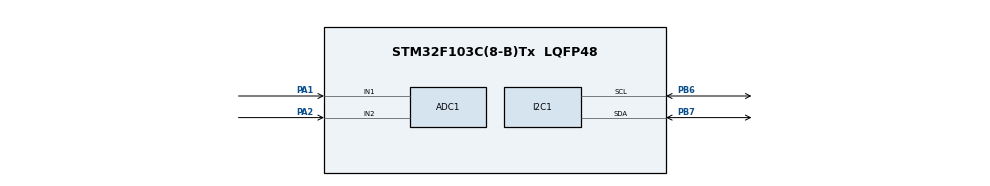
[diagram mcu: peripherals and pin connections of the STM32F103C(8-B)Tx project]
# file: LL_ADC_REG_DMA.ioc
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ADC1.Channel-0\#ChannelRegularConversion=ADC_CHANNEL_1
ADC1.Channel-1\#ChannelRegularConversion=ADC_CHANNEL_2
ADC1.NbrOfConversion=2
ADC1.NbrOfConversionFlag=1
ADC1.Rank-0\#ChannelRegularConversion=1
ADC1.Rank-1\#ChannelRegularConversion=2
ADC1.SamplingTime-0\#ChannelRegularConversion=ADC_SAMPLETIME_13CYCLES_5
ADC1.SamplingTime-1\#ChannelRegularConversion=ADC_SAMPLETIME_13CYCLES_5
ADC1.master=1
Dma.ADC1.0.Direction=DMA_PERIPH_TO_MEMORY
Dma.ADC1.0.Instance=DMA1_Channel1
Dma.ADC1.0.MemDataAlignment=DMA_MDATAALIGN_HALFWORD
Dma.ADC1.0.MemInc=DMA_MINC_ENABLE
Dma.ADC1.0.Mode=DMA_NORMAL
Dma.ADC1.0.PeriphDataAlignment=DMA_PDATAALIGN_HALFWORD
Dma.ADC1.0.PeriphInc=DMA_PINC_DISABLE
Dma.ADC1.0.Priority=DMA_PRIORITY_LOW
Dma.Request0=ADC1
I2C1.I2C_Mode=I2C_Standard
Mcu.Family=STM32F1
Mcu.Name=STM32F103C(8-B)Tx
Mcu.Package=LQFP48
NVIC.DMA1_Channel1_IRQn=true\:0\:0\:false\:false\:true\:false\:true
NVIC.PriorityGroup=NVIC_PRIORITYGROUP_4
NVIC.TIM1_BRK_IRQn=true\:0\:0\:false\:false\:true\:true\:true
NVIC.TIM1_CC_IRQn=true\:0\:0\:false\:false\:true\:true\:true
NVIC.TIM1_TRG_COM_IRQn=true\:0\:0\:false\:false\:true\:true\:true
NVIC.TIM1_UP_IRQn=true\:0\:0\:false\:false\:true\:true\:true
PA1.Signal=ADCx_IN1
PA13.Mode=Trace_Asynchronous_SW
PA13.Signal=SYS_JTMS-SWDIO
PA14.Mode=Trace_Asynchronous_SW
PA14.Signal=SYS_JTCK-SWCLK
PA2.Signal=ADCx_IN2
PB3.Mode=Trace_Asynchronous_SW
PB3.Signal=SYS_JTDO-TRACESWO
PB6.GPIO_Pu=GPIO_PULLUP
PB6.Mode=I2C
PB6.Signal=I2C1_SCL
PB7.GPIO_Pu=GPIO_PULLUP
PB7.Mode=I2C
PB7.Signal=I2C1_SDA
PD0-OSC_IN.Mode=HSE-External-Oscillator
PD0-OSC_IN.Signal=RCC_OSC_IN
PD1-OSC_OUT.Mode=HSE-External-Oscillator
PD1-OSC_OUT.Signal=RCC_OSC_OUT
ProjectManager.HeapSize=0x200
ProjectManager.StackSize=0x400
ProjectManager.TargetToolchain=MDK-ARM V5
RCC.ADCPresc=RCC_ADCPCLK2_DIV6
RCC.AHBFreq_Value=72000000
RCC.APB1CLKDivider=RCC_HCLK_DIV2
RCC.APB1Freq_Value=36000000
RCC.APB1TimFreq_Value=72000000
RCC.APB2Freq_Value=72000000
RCC.APB2TimFreq_Value=72000000
RCC.HCLKFreq_Value=72000000
RCC.PLLMUL=RCC_PLL_MUL9
RCC.PLLSourceVirtual=RCC_PLLSOURCE_HSE
RCC.SYSCLKFreq_VALUE=72000000
RCC.SYSCLKSource=RCC_SYSCLKSOURCE_PLLCLK
RCC.USBFreq_Value=72000000
SH.ADCx_IN1.0=ADC1_IN1,IN1
SH.ADCx_IN2.0=ADC1_IN2,IN2
TIM1.Period=255
TIM1.Prescaler=64
VP_TIM1_VS_ClockSourceINT.Mode=Internal
board=custom

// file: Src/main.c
/* USER CODE BEGIN Header */
/**
  ******************************************************************************
  * @file           : main.c
  * @brief          : Main program body
  ******************************************************************************
  * @attention
  *
  * Copyright (c) 2022 STMicroelectronics.
  * All rights reserved.
  *
  * This software is licensed under terms that can be found in the LICENSE file
  * in the root directory of this software component.
  * If no LICENSE file comes with this software, it is provided AS-IS.
  *
  ******************************************************************************
  */
/* USER CODE END Header */
#include "main.h"

/* USER CODE BEGIN Includes */
#include "lcd.h"
#include <stdio.h>
#include "stdio.h"
/* USER CODE END Includes */

TIM_HandleTypeDef htim1;

/* USER CODE BEGIN PV */
__IO uint16_t ADC_Data[4] = {0};
__IO uint8_t fl_adc;

#define ITM_Port8(n)  (*((volatile unsigned char *)(0xE0000000+4*n)))
#define ITM_Port16(n) (*((volatile unsigned short *)(0xE0000000+4*n)))
#define ITM_Port32(n) (*((volatile unsigned long *)(0xE0000000+4*n)))

#define  DEMCR        (*((volatile unsigned long *)(0xE000EDFC)))
#define TRCENA        0x01000000

struct __FILE { int handle;};
FILE __stdout;
FILE __stdin;

int fputc(int ch, FILE *f){
	if (DEMCR & TRCENA){
		while (ITM_Port32(0) == 0);
		ITM_Port8(0) = ch;
	}
}
/* USER CODE END PV */

void SystemClock_Config(void);
static void MX_GPIO_Init(void);
static void MX_DMA_Init(void);
static void MX_I2C1_Init(void);
static void MX_ADC1_Init(void);
static void MX_TIM1_Init(void);

/* USER CODE BEGIN 0 */
//uint32_t crt;
char crt;
/* USER CODE END 0 */

int main(void)
{
  /* USER CODE BEGIN 1 */
  __IO uint32_t wait_loop_index = 0;
  __IO uint16_t ADC_mVolt[2];
  char str01[20];

  /* USER CODE END 1 */

  /* MCU Configuration--------------------------------------------------------*/

  /* Reset of all peripherals, Initializes the Flash interface and the Systick. */
  HAL_Init();

  /* Configure the system clock */
  SystemClock_Config();

  /* Initialize all configured peripherals */
  MX_GPIO_Init();
  MX_DMA_Init();
  MX_I2C1_Init();
  MX_ADC1_Init();
  MX_TIM1_Init();
  /* USER CODE BEGIN 2 */
	HAL_TIM_PWM_Start(&htim1, TIM_CHANNEL_1); // запускаем PWM

  LCD_ini();
  LL_DMA_ConfigTransfer(DMA1,
                        LL_DMA_CHANNEL_1,
                        LL_DMA_DIRECTION_PERIPH_TO_MEMORY |
                        LL_DMA_MODE_CIRCULAR              |
                        LL_DMA_PERIPH_NOINCREMENT         |
                        LL_DMA_MEMORY_INCREMENT           |
                        LL_DMA_PDATAALIGN_HALFWORD        |
                        LL_DMA_MDATAALIGN_HALFWORD        |
                        LL_DMA_PRIORITY_HIGH               );
  LL_DMA_ConfigAddresses(DMA1,
                         LL_DMA_CHANNEL_1,
                         LL_ADC_DMA_GetRegAddr(ADC1, LL_ADC_DMA_REG_REGULAR_DATA),
                         (uint32_t)&ADC_Data,
                         LL_DMA_DIRECTION_PERIPH_TO_MEMORY);
  LL_DMA_SetDataLength(DMA1, LL_DMA_CHANNEL_1, 2);
  LL_DMA_EnableIT_TC(DMA1, LL_DMA_CHANNEL_1);
  LL_DMA_EnableIT_TE(DMA1, LL_DMA_CHANNEL_1);
  LL_DMA_EnableChannel(DMA1, LL_DMA_CHANNEL_1);
  LL_ADC_Enable(ADC1);
  wait_loop_index = ((LL_ADC_DELAY_ENABLE_CALIB_ADC_CYCLES * 32) >> 1);
  while(wait_loop_index != 0)
  {
    wait_loop_index--;
  }
  LL_ADC_StartCalibration(ADC1);
  while (LL_ADC_IsCalibrationOnGoing(ADC1) != 0) {}
  LCD_String("Two channel");
  LCD_SetPos(0,1);
  LCD_String("Voltmeter");
  LCD_SetPos(0,2);
	HAL_Delay(2000);
	LCD_Clear();
  /* USER CODE END 2 */

  /* Infinite loop */
  while (1)
  {

    /* USER CODE BEGIN 3 */

    LL_ADC_REG_StartConversionSWStart(ADC1);
    while (!fl_adc) {}
    fl_adc = 0;
    for(uint8_t i=0; i<2; i++)
    {
      ADC_mVolt[i] = __LL_ADC_CALC_DATA_TO_VOLTAGE((uint32_t)3275, ADC_Data[i], LL_ADC_RESOLUTION_12B);
    }
    sprintf(str01," %.3f %.3f ", (float)ADC_mVolt[0]/1000., (float)ADC_mVolt[1]/1000.);
    LCD_SetPos(0,1);
    LCD_String(str01);
    LL_mDelay(100);
		//rt = (char)str01;
		printf("%.3f %.3f \r\n", str01);
  }
  /* USER CODE END 3 */
}

void SystemClock_Config(void)
{
  LL_FLASH_SetLatency(LL_FLASH_LATENCY_2);
  while(LL_FLASH_GetLatency()!= LL_FLASH_LATENCY_2)
  {
  }
  LL_RCC_HSE_Enable();

   /* Wait till HSE is ready */
  while(LL_RCC_HSE_IsReady() != 1)
  {

  }
  LL_RCC_PLL_ConfigDomain_SYS(LL_RCC_PLLSOURCE_HSE_DIV_1, LL_RCC_PLL_MUL_9);
  LL_RCC_PLL_Enable();

   /* Wait till PLL is ready */
  while(LL_RCC_PLL_IsReady() != 1)
  {

  }
  LL_RCC_SetAHBPrescaler(LL_RCC_SYSCLK_DIV_1);
  LL_RCC_SetAPB1Prescaler(LL_RCC_APB1_DIV_2);
  LL_RCC_SetAPB2Prescaler(LL_RCC_APB2_DIV_1);
  LL_RCC_SetSysClkSource(LL_RCC_SYS_CLKSOURCE_PLL);

   /* Wait till System clock is ready */
  while(LL_RCC_GetSysClkSource() != LL_RCC_SYS_CLKSOURCE_STATUS_PLL)
  {

  }
  LL_SetSystemCoreClock(72000000);

   /* Update the time base */
  if (HAL_InitTick (TICK_INT_PRIORITY) != HAL_OK)
  {
    Error_Handler();
  }
  LL_RCC_SetADCClockSource(LL_RCC_ADC_CLKSRC_PCLK2_DIV_6);
}

static void MX_ADC1_Init(void)
{

  LL_ADC_InitTypeDef ADC_InitStruct = {0};
  LL_ADC_CommonInitTypeDef ADC_CommonInitStruct = {0};
  LL_ADC_REG_InitTypeDef ADC_REG_InitStruct = {0};

  LL_GPIO_InitTypeDef GPIO_InitStruct = {0};

  /* Peripheral clock enable */
  LL_APB2_GRP1_EnableClock(LL_APB2_GRP1_PERIPH_ADC1);

  LL_APB2_GRP1_EnableClock(LL_APB2_GRP1_PERIPH_GPIOA);
  /**ADC1 GPIO Configuration
  PA1   ------> ADC1_IN1
  PA2   ------> ADC1_IN2
  */
  GPIO_InitStruct.Pin = LL_GPIO_PIN_1|LL_GPIO_PIN_2;
  GPIO_InitStruct.Mode = LL_GPIO_MODE_ANALOG;
  LL_GPIO_Init(GPIOA, &GPIO_InitStruct);

  /* ADC1 DMA Init */

  /* ADC1 Init */
  LL_DMA_SetDataTransferDirection(DMA1, LL_DMA_CHANNEL_1, LL_DMA_DIRECTION_PERIPH_TO_MEMORY);

  LL_DMA_SetChannelPriorityLevel(DMA1, LL_DMA_CHANNEL_1, LL_DMA_PRIORITY_LOW);

  LL_DMA_SetMode(DMA1, LL_DMA_CHANNEL_1, LL_DMA_MODE_NORMAL);

  LL_DMA_SetPeriphIncMode(DMA1, LL_DMA_CHANNEL_1, LL_DMA_PERIPH_NOINCREMENT);

  LL_DMA_SetMemoryIncMode(DMA1, LL_DMA_CHANNEL_1, LL_DMA_MEMORY_INCREMENT);

  LL_DMA_SetPeriphSize(DMA1, LL_DMA_CHANNEL_1, LL_DMA_PDATAALIGN_HALFWORD);

  LL_DMA_SetMemorySize(DMA1, LL_DMA_CHANNEL_1, LL_DMA_MDATAALIGN_HALFWORD);

  /** Common config
  */
  ADC_InitStruct.DataAlignment = LL_ADC_DATA_ALIGN_RIGHT;
  ADC_InitStruct.SequencersScanMode = LL_ADC_SEQ_SCAN_ENABLE;
  LL_ADC_Init(ADC1, &ADC_InitStruct);
  ADC_CommonInitStruct.Multimode = LL_ADC_MULTI_INDEPENDENT;
  LL_ADC_CommonInit(__LL_ADC_COMMON_INSTANCE(ADC1), &ADC_CommonInitStruct);
  ADC_REG_InitStruct.TriggerSource = LL_ADC_REG_TRIG_SOFTWARE;
  ADC_REG_InitStruct.SequencerLength = LL_ADC_REG_SEQ_SCAN_ENABLE_2RANKS;
  ADC_REG_InitStruct.SequencerDiscont = LL_ADC_REG_SEQ_DISCONT_DISABLE;
  ADC_REG_InitStruct.ContinuousMode = LL_ADC_REG_CONV_SINGLE;
  ADC_REG_InitStruct.DMATransfer = LL_ADC_REG_DMA_TRANSFER_UNLIMITED;
  LL_ADC_REG_Init(ADC1, &ADC_REG_InitStruct);
  /** Configure Regular Channel
  */
  LL_ADC_REG_SetSequencerRanks(ADC1, LL_ADC_REG_RANK_1, LL_ADC_CHANNEL_1);
  LL_ADC_SetChannelSamplingTime(ADC1, LL_ADC_CHANNEL_1, LL_ADC_SAMPLINGTIME_13CYCLES_5);
  /** Configure Regular Channel
  */
  LL_ADC_REG_SetSequencerRanks(ADC1, LL_ADC_REG_RANK_2, LL_ADC_CHANNEL_2);
  LL_ADC_SetChannelSamplingTime(ADC1, LL_ADC_CHANNEL_2, LL_ADC_SAMPLINGTIME_13CYCLES_5);

}

static void MX_I2C1_Init(void)
{

  LL_I2C_InitTypeDef I2C_InitStruct = {0};

  LL_GPIO_InitTypeDef GPIO_InitStruct = {0};

  LL_APB2_GRP1_EnableClock(LL_APB2_GRP1_PERIPH_GPIOB);
  /**I2C1 GPIO Configuration
  PB6   ------> I2C1_SCL
  PB7   ------> I2C1_SDA
  */
  GPIO_InitStruct.Pin = LL_GPIO_PIN_6|LL_GPIO_PIN_7;
  GPIO_InitStruct.Mode = LL_GPIO_MODE_ALTERNATE;
  GPIO_InitStruct.Speed = LL_GPIO_SPEED_FREQ_HIGH;
  GPIO_InitStruct.OutputType = LL_GPIO_OUTPUT_OPENDRAIN;
  LL_GPIO_Init(GPIOB, &GPIO_InitStruct);

  /* Peripheral clock enable */
  LL_APB1_GRP1_EnableClock(LL_APB1_GRP1_PERIPH_I2C1);

  /** I2C Initialization
  */
  LL_I2C_DisableOwnAddress2(I2C1);
  LL_I2C_DisableGeneralCall(I2C1);
  LL_I2C_EnableClockStretching(I2C1);
  I2C_InitStruct.PeripheralMode = LL_I2C_MODE_I2C;
  I2C_InitStruct.ClockSpeed = 100000;
  I2C_InitStruct.DutyCycle = LL_I2C_DUTYCYCLE_2;
  I2C_InitStruct.OwnAddress1 = 0;
  I2C_InitStruct.TypeAcknowledge = LL_I2C_ACK;
  I2C_InitStruct.OwnAddrSize = LL_I2C_OWNADDRESS1_7BIT;
  LL_I2C_Init(I2C1, &I2C_InitStruct);
  LL_I2C_SetOwnAddress2(I2C1, 0);

}

static void MX_TIM1_Init(void)
{

  TIM_ClockConfigTypeDef sClockSourceConfig = {0};
  TIM_MasterConfigTypeDef sMasterConfig = {0};

  htim1.Instance = TIM1;
  htim1.Init.Prescaler = 64;
  htim1.Init.CounterMode = TIM_COUNTERMODE_UP;
  htim1.Init.Period = 255;
  htim1.Init.ClockDivision = TIM_CLOCKDIVISION_DIV1;
  htim1.Init.RepetitionCounter = 0;
  htim1.Init.AutoReloadPreload = TIM_AUTORELOAD_PRELOAD_DISABLE;
  if (HAL_TIM_Base_Init(&htim1) != HAL_OK)
  {
    Error_Handler();
  }
  sClockSourceConfig.ClockSource = TIM_CLOCKSOURCE_INTERNAL;
  if (HAL_TIM_ConfigClockSource(&htim1, &sClockSourceConfig) != HAL_OK)
  {
    Error_Handler();
  }
  sMasterConfig.MasterOutputTrigger = TIM_TRGO_RESET;
  sMasterConfig.MasterSlaveMode = TIM_MASTERSLAVEMODE_DISABLE;
  if (HAL_TIMEx_MasterConfigSynchronization(&htim1, &sMasterConfig) != HAL_OK)
  {
    Error_Handler();
  }

}

static void MX_DMA_Init(void)
{

  /* Init with LL driver */
  /* DMA controller clock enable */
  LL_AHB1_GRP1_EnableClock(LL_AHB1_GRP1_PERIPH_DMA1);

  /* DMA interrupt init */
  /* DMA1_Channel1_IRQn interrupt configuration */
  NVIC_SetPriority(DMA1_Channel1_IRQn, NVIC_EncodePriority(NVIC_GetPriorityGrouping(),0, 0));
  NVIC_EnableIRQ(DMA1_Channel1_IRQn);

}

static void MX_GPIO_Init(void)
{

  /* GPIO Ports Clock Enable */
  LL_APB2_GRP1_EnableClock(LL_APB2_GRP1_PERIPH_GPIOD);
  LL_APB2_GRP1_EnableClock(LL_APB2_GRP1_PERIPH_GPIOA);
  LL_APB2_GRP1_EnableClock(LL_APB2_GRP1_PERIPH_GPIOB);

}

/* USER CODE BEGIN 4 */
//------------------------------------------------------
void ADC_DMA_TransferComplete_Callback()
{
  fl_adc = 1;
}
//------------------------------------------------------
/* USER CODE END 4 */

void Error_Handler(void)
{
}
